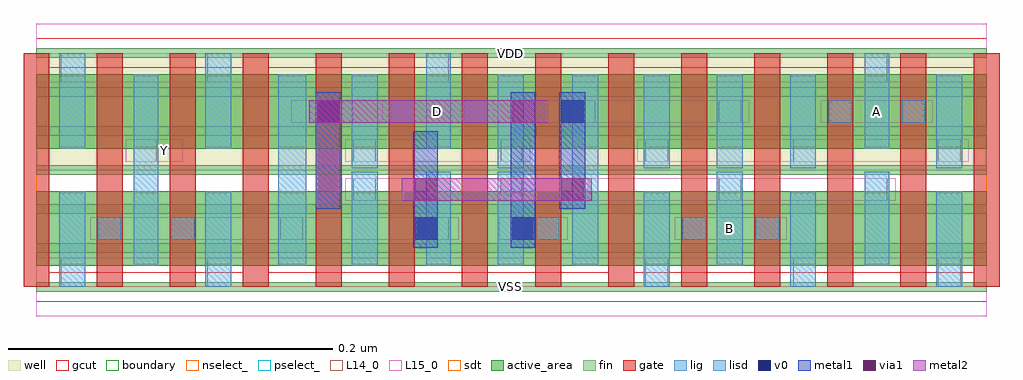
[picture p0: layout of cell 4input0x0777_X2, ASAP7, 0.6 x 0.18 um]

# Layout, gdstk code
import gdstk
lib = gdstk.Library(unit=1e-6, precision=1e-09)
def R(c, l, rs):  # rectangles x0, y0, x1, y1
    for r in rs: c.add(gdstk.rectangle(r[:2], r[2:], *l))
def A(c, l, x, y, w, h, nx, ny, dx, dy):  # array of equal rectangles
    R(c, l, [(x+i*dx, y+j*dy, x+i*dx+w, y+j*dy+h) for i in range(nx) for j in range(ny)])
def P(c, l, *ps):  # polygons
    for p in ps: c.add(gdstk.Polygon(p, *l))
well = (1, 0)
fin = (2, 0)
gate = (7, 0)
gcut = (10, 0)
active_area = (11, 0)
nselect_ = (12, 0)
pselect_ = (13, 0)
L14_0 = (14, 0)
L15_0 = (15, 0)
lig = (16, 0)
lisd = (17, 0)
v0 = (18, 0)
metal1 = (19, 0)
metal2 = (20, 0)
via1 = (21, 0)
sdt = (88, 0)
boundary = (100, 0)

c_4input0x0777_x2 = lib.new_cell('4input0x0777_X2')
R(c_4input0x0777_x2, well, [(0,0.072,0.585,0.144)])
A(c_4input0x0777_x2, fin, 0, -0.003, 0.585, 0.006, 1, 7, 0, 0.024)
A(c_4input0x0777_x2, gate, -0.008, 0, 0.016, 0.144, 14, 1, 0.045, 0)
P(c_4input0x0777_x2, gcut, [(0,-0.009),(0,0),(-0.008,0),(-0.008,0.135),(0.008,0.135),(0.008,0.009),(0.127,0.009),(0.127,0.135),(0.143,0.135),(0.143,0.009),(0.352,0.009),(0.352,0.135),(0.368,0.135),(0.368,0.009),(0.577,0.009),(0.577,0.135),(-0.008,0.135),(-0.008,0.144),(0,0.144),(0,0.153),(0.585,0.153),(0.585,0.144),(0.593,0.144),(0.593,0),(0.585,0),(0.585,-0.009)])
R(c_4input0x0777_x2, active_area, [(0,0.013,0.585,0.059), (0,0.085,0.585,0.131)])
R(c_4input0x0777_x2, nselect_, [(0,0,0.585,0.072)])
R(c_4input0x0777_x2, pselect_, [(0,0.072,0.585,0.144)])
A(c_4input0x0777_x2, L14_0, 0.173, 0.101, 0.014, 0.014, 3, 1, 0.045, 0)
R(c_4input0x0777_x2, L14_0, [(0.015,0,0.03,0.018), (0.105,0,0.12,0.018), (0.375,0,0.389,0.018), (0.466,0,0.48,0.018), (0.555,0,0.569,0.018), (0.038,0.029,0.052,0.043), (0.083,0.029,0.097,0.043), (0.15,0.029,0.164,0.043), (0.24,0.029,0.254,0.043), (0.308,0.029,0.322,0.043), (0.398,0.029,0.412,0.043), (0.443,0.029,0.457,0.043), (0.195,0.053,0.209,0.067), (0.286,0.053,0.299,0.067), (0.42,0.053,0.434,0.067), (0.51,0.053,0.524,0.067), (0.06,0.077,0.074,0.091), (0.195,0.077,0.209,0.091), (0.286,0.077,0.299,0.091), (0.375,0.077,0.389,0.091), (0.466,0.077,0.48,0.091), (0.555,0.077,0.569,0.091), (0.33,0.101,0.344,0.115), (0.42,0.101,0.434,0.115), (0.488,0.101,0.502,0.115), (0.533,0.101,0.547,0.115), (0.015,0.126,0.03,0.144), (0.105,0.126,0.12,0.144), (0.24,0.126,0.254,0.144), (0.51,0.126,0.524,0.144)])
R(c_4input0x0777_x2, L15_0, [(0,-0.018,0.585,0.018), (0.033,0.029,0.26,0.043), (0.285,0.029,0.327,0.043), (0.393,0.029,0.462,0.043), (0.19,0.053,0.529,0.067), (0.055,0.077,0.09,0.091), (0.19,0.077,0.304,0.091), (0.37,0.077,0.574,0.091), (0.157,0.101,0.195,0.115), (0.213,0.101,0.282,0.115), (0.315,0.101,0.439,0.115), (0.483,0.101,0.552,0.115), (0,0.126,0.585,0.162)])
A(c_4input0x0777_x2, lig, 0.173, 0.101, 0.014, 0.014, 3, 1, 0.045, 0)
R(c_4input0x0777_x2, lig, [(0.038,0.029,0.052,0.043), (0.083,0.029,0.097,0.043), (0.308,0.029,0.322,0.043), (0.398,0.029,0.412,0.043), (0.443,0.029,0.457,0.043), (0.488,0.101,0.502,0.115), (0.533,0.101,0.547,0.115)])
A(c_4input0x0777_x2, lisd, 0.374, 0, 0.016, 0.059, 3, 1, 0.09, 0)
A(c_4input0x0777_x2, lisd, 0.194, 0.073, 0.016, 0.058, 3, 1, 0.09, 0)
R(c_4input0x0777_x2, lisd, [(0.014,0,0.03,0.059), (0.104,0,0.12,0.059), (0.06,0.013,0.075,0.131), (0.149,0.013,0.166,0.131), (0.194,0.013,0.21,0.071), (0.24,0.013,0.255,0.071), (0.284,0.013,0.3,0.071), (0.33,0.013,0.346,0.131), (0.419,0.013,0.435,0.071), (0.51,0.013,0.525,0.071), (0.419,0.073,0.435,0.131), (0.464,0.073,0.48,0.131), (0.554,0.073,0.57,0.131), (0.014,0.085,0.03,0.144), (0.104,0.085,0.12,0.144), (0.24,0.085,0.255,0.144), (0.51,0.085,0.525,0.144)])
R(c_4input0x0777_x2, v0, [(0.233,0.029,0.247,0.043), (0.293,0.029,0.307,0.043), (0.173,0.101,0.187,0.115), (0.323,0.101,0.337,0.115)])
R(c_4input0x0777_x2, metal1, [(0.232,0.024,0.247,0.096), (0.292,0.024,0.307,0.12), (0.172,0.048,0.187,0.12), (0.322,0.048,0.338,0.12)])
R(c_4input0x0777_x2, metal2, [(0.225,0.053,0.342,0.067), (0.168,0.101,0.315,0.115)])
R(c_4input0x0777_x2, via1, [(0.233,0.053,0.247,0.067), (0.323,0.053,0.337,0.067), (0.173,0.101,0.187,0.115), (0.293,0.101,0.307,0.115)])
A(c_4input0x0777_x2, sdt, 0.014, 0.014, 0.016, 0.044, 4, 2, 0.09, 0.072)
A(c_4input0x0777_x2, sdt, 0.374, 0.014, 0.016, 0.044, 3, 2, 0.045, 0.072)
R(c_4input0x0777_x2, sdt, [(0.06,0.014,0.075,0.058), (0.149,0.014,0.166,0.058), (0.24,0.014,0.255,0.058), (0.33,0.014,0.346,0.058), (0.51,0.014,0.525,0.058), (0.554,0.014,0.57,0.058), (0.06,0.086,0.075,0.13), (0.149,0.086,0.166,0.13), (0.24,0.086,0.255,0.13), (0.33,0.086,0.346,0.13), (0.51,0.086,0.525,0.13), (0.554,0.086,0.57,0.13)])
R(c_4input0x0777_x2, boundary, [(0,0,0.585,0.144)])
c_4input0x0777_x2.add(gdstk.Label('D', (0.247,0.108), layer=15, texttype=251))
c_4input0x0777_x2.add(gdstk.Label('VSS', (0.292,0), layer=15, texttype=251))
c_4input0x0777_x2.add(gdstk.Label('VDD', (0.292,0.144), layer=15, texttype=251))
c_4input0x0777_x2.add(gdstk.Label('Y', (0.079,0.084), layer=15, texttype=251))
c_4input0x0777_x2.add(gdstk.Label('VSS', (0.292,0), layer=15, texttype=251))
c_4input0x0777_x2.add(gdstk.Label('VDD', (0.292,0.144), layer=15, texttype=251))
c_4input0x0777_x2.add(gdstk.Label('A', (0.517,0.108), layer=15, texttype=251))
c_4input0x0777_x2.add(gdstk.Label('VSS', (0.292,0), layer=15, texttype=251))
c_4input0x0777_x2.add(gdstk.Label('VDD', (0.292,0.144), layer=15, texttype=251))
c_4input0x0777_x2.add(gdstk.Label('B', (0.427,0.036), layer=15, texttype=251))
c_4input0x0777_x2.add(gdstk.Label('VSS', (0.292,0), layer=15, texttype=251))
c_4input0x0777_x2.add(gdstk.Label('VDD', (0.292,0.144), layer=15, texttype=251))
c_4input0x0777_x2.add(gdstk.Label('VSS', (0.292,0), layer=15, texttype=251))
c_4input0x0777_x2.add(gdstk.Label('VDD', (0.292,0.144), layer=15, texttype=251))
c_4input0x0777_x2.add(gdstk.Label('VSS', (0.292,0), layer=3, texttype=251))
c_4input0x0777_x2.add(gdstk.Label('VSS', (0.292,0), layer=3, texttype=251))
c_4input0x0777_x2.add(gdstk.Label('VSS', (0.292,0), layer=3, texttype=251))
c_4input0x0777_x2.add(gdstk.Label('VSS', (0.292,0), layer=3, texttype=251))
c_4input0x0777_x2.add(gdstk.Label('VSS', (0.292,0), layer=3, texttype=251))
c_4input0x0777_x2.add(gdstk.Label('VDD', (0.292,0.144), layer=1, texttype=251))
c_4input0x0777_x2.add(gdstk.Label('VDD', (0.292,0.144), layer=1, texttype=251))
c_4input0x0777_x2.add(gdstk.Label('VDD', (0.292,0.144), layer=1, texttype=251))
c_4input0x0777_x2.add(gdstk.Label('VDD', (0.292,0.144), layer=1, texttype=251))
c_4input0x0777_x2.add(gdstk.Label('VDD', (0.292,0.144), layer=1, texttype=251))
c_4input0x0777_x2.add(gdstk.Label('C', (0.247,0.108), layer=20, texttype=251))

lib.write_gds('4input0x0777_X2.gds')
